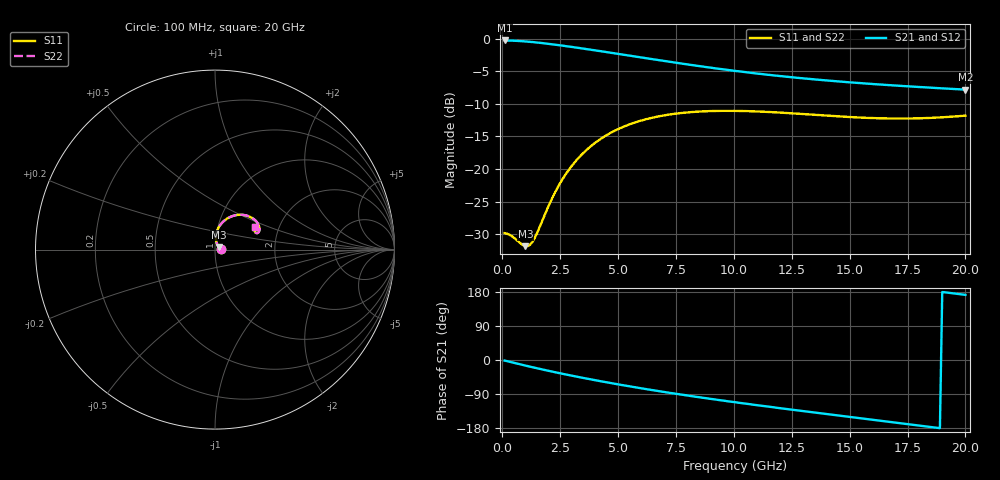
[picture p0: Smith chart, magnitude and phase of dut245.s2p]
! Created with skrf 1.9.0 (http://scikit-rf.org).
# GHz S RI R 50.0
!freq ReS11 ImS11 ReS21 ImS21 ReS12 ImS12 ReS22 ImS22
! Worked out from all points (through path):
!   200 points, 100 MHz to 20 GHz, reference 50 ohm
!   highest |S21| = -0.29 dB at 100 MHz (marker M1); lowest = -7.8 dB at 20 GHz (marker M2)
!   group delay of S21, straight-line fit = 24.9 ps
!   lowest |S11| = -31.8 dB at 1 GHz (marker M3), VSWR 1.05, Z = 52.2 + j1.47 ohm
!   |S11| at or under -10 dB: start of sweep to end of sweep
!   |S22| runs from -31.8 to -11.1 dB; largest |S21 - S12| = 2e-15
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0.1  0.0322 0.00121  0.9672 -0.0257  0.9672 -0.0257  0.0322 0.00121
0.4  0.0304 0.00383  0.9595 -0.1008  0.9595 -0.1008  0.0304 0.00383
0.8  0.025 0.0097  0.9362 -0.1973  0.9362 -0.1973  0.025 0.0097
1  0.0214 0.014  0.9195 -0.2429  0.9195 -0.2429  0.0214 0.014
1.2  0.0176 0.0195  0.9 -0.2865  0.9 -0.2865  0.0176 0.0195
1.4  0.014 0.026  0.8779 -0.3278  0.8779 -0.3278  0.014 0.026
2.1  0.00546 0.0568  0.7857 -0.4529  0.7857 -0.4529  0.00546 0.0568
2.6  0.0063 0.0833  0.7106 -0.524  0.7106 -0.524  0.0063 0.0833
3  0.0119 0.1049  0.6476 -0.5704  0.6476 -0.5704  0.0119 0.1049
3.5  0.0245 0.1305  0.5673 -0.6167  0.5673 -0.6167  0.0245 0.1305
4.2  0.0503 0.1602  0.4551 -0.6615  0.4551 -0.6615  0.0503 0.1602
4.9  0.0818 0.1806  0.3466 -0.686  0.3466 -0.686  0.0818 0.1806
5.8  0.1241 0.193  0.2164 -0.693  0.2164 -0.693  0.1241 0.193
6.8  0.1668 0.1917  0.0879 -0.676  0.0879 -0.676  0.1668 0.1917
8.4  0.2164 0.1697  -0.0794 -0.6137  -0.0794 -0.6137  0.2164 0.1697
10.1  0.2424 0.1382  -0.2103 -0.5232  -0.2103 -0.5232  0.2424 0.1382
11.7  0.248 0.1129  -0.2983 -0.4291  -0.2983 -0.4291  0.248 0.1129
13.4  0.2424 0.0964  -0.3627 -0.3263  -0.3627 -0.3263  0.2424 0.0964
15  0.2329 0.0916  -0.401 -0.2293  -0.401 -0.2293  0.2329 0.0916
16.7  0.224 0.0968  -0.4207 -0.1276  -0.4207 -0.1276  0.224 0.0968
18.3  0.2204 0.1087  -0.4207 -0.0348  -0.4207 -0.0348  0.2204 0.1087
20  0.224 0.125  -0.402 0.0579  -0.402 0.0579  0.224 0.125
